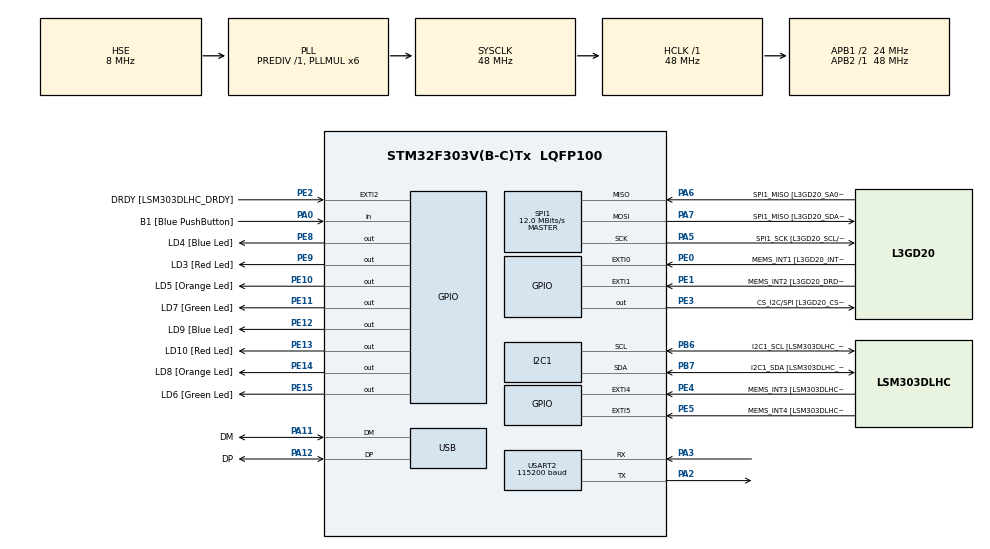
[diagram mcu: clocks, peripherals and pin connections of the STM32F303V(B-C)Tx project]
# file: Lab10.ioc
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I2C1.Timing=0x2000090E
I2C1.Timing-I2C=0x2000090E
Mcu.Family=STM32F3
Mcu.Name=STM32F303V(B-C)Tx
Mcu.Package=LQFP100
NVIC.PriorityGroup=NVIC_PRIORITYGROUP_0
PA0.GPIO_Label=B1 [Blue PushButton]
PA0.Signal=GPIO_Input
PA11.GPIO_Label=DM
PA11.Mode=Device
PA11.Signal=USB_DM
PA12.GPIO_Label=DP
PA12.Mode=Device
PA12.Signal=USB_DP
PA13.GPIO_Label=SWDIO
PA13.Mode=Serial_Wire
PA13.Signal=SYS_JTMS-SWDIO
PA14.GPIO_Label=SWCLK
PA14.Mode=Serial_Wire
PA14.Signal=SYS_JTCK-SWCLK
PA2.Mode=Asynchronous
PA2.Signal=USART2_TX
PA3.Mode=Asynchronous
PA3.Signal=USART2_RX
PA5.GPIO_Label=SPI1_SCK [L3GD20_SCL/SPC]
PA5.Mode=Full_Duplex_Master
PA5.Signal=SPI1_SCK
PA6.GPIO_Label=SPI1_MISO [L3GD20_SA0/SDO]
PA6.Mode=Full_Duplex_Master
PA6.Signal=SPI1_MISO
PA7.GPIO_Label=SPI1_MISO [L3GD20_SDA/SDI/SDO]
PA7.Mode=Full_Duplex_Master
PA7.Signal=SPI1_MOSI
PB3.GPIO_Label=SWO
PB3.Signal=SYS_JTDO-TRACESWO
PB6.GPIO_Label=I2C1_SCL [LSM303DLHC_SCL]
PB6.GPIO_Pu=GPIO_PULLUP
PB6.Mode=I2C
PB6.Signal=I2C1_SCL
PB7.GPIO_Label=I2C1_SDA [LSM303DLHC_SDA]
PB7.GPIO_Pu=GPIO_PULLUP
PB7.Mode=I2C
PB7.Signal=I2C1_SDA
PC14-OSC32_IN.GPIO_Label=OSC32_IN
PC14-OSC32_IN.Signal=RCC_OSC32_IN
PC15-OSC32_OUT.GPIO_Label=OSC32_OUT
PC15-OSC32_OUT.Signal=RCC_OSC32_OUT
PE0.GPIO_Label=MEMS_INT1 [L3GD20_INT1]
PE0.GPIO_ModeDefaultEXTI=GPIO_MODE_EVT_RISING
PE0.Signal=GPXTI0
PE1.GPIO_Label=MEMS_INT2 [L3GD20_DRDY/INT2]
PE1.GPIO_ModeDefaultEXTI=GPIO_MODE_EVT_RISING
PE1.Signal=GPXTI1
PE10.GPIO_Label=LD5 [Orange Led]
PE10.Signal=GPIO_Output
PE11.GPIO_Label=LD7 [Green Led]
PE11.Signal=GPIO_Output
PE12.GPIO_Label=LD9 [Blue Led]
PE12.Signal=GPIO_Output
PE13.GPIO_Label=LD10 [Red Led]
PE13.Signal=GPIO_Output
PE14.GPIO_Label=LD8 [Orange Led]
PE14.Signal=GPIO_Output
PE15.GPIO_Label=LD6 [Green Led]
PE15.Signal=GPIO_Output
PE2.GPIO_Label=DRDY [LSM303DLHC_DRDY]
PE2.GPIO_ModeDefaultEXTI=GPIO_MODE_EVT_RISING
PE2.Signal=GPXTI2
PE3.GPIO_Label=CS_I2C/SPI [L3GD20_CS_I2C/SPI]
PE3.Signal=GPIO_Output
PE4.GPIO_Label=MEMS_INT3 [LSM303DLHC_INT1]
PE4.GPIO_ModeDefaultEXTI=GPIO_MODE_EVT_RISING
PE4.Signal=GPXTI4
PE5.GPIO_Label=MEMS_INT4 [LSM303DLHC_INT2]
PE5.GPIO_ModeDefaultEXTI=GPIO_MODE_EVT_RISING
PE5.Signal=GPXTI5
PE8.GPIO_Label=LD4 [Blue Led]
PE8.Signal=GPIO_Output
PE9.GPIO_Label=LD3 [Red Led]
PE9.Signal=GPIO_Output
PF0-OSC_IN.GPIO_Label=OSC_IN
PF0-OSC_IN.Mode=HSE-External-Clock-Source
PF0-OSC_IN.Signal=RCC_OSC_IN
PF1-OSC_OUT.GPIO_Label=OSC_OUT
PF1-OSC_OUT.Signal=RCC_OSC_OUT
ProjectManager.HeapSize=0x800
ProjectManager.StackSize=0x400
ProjectManager.TargetToolchain=CMake
RCC.AHBFreq_Value=48000000
RCC.APB1CLKDivider=RCC_HCLK_DIV2
RCC.APB1Freq_Value=24000000
RCC.APB1TimFreq_Value=48000000
RCC.APB2Freq_Value=48000000
RCC.APB2TimFreq_Value=48000000
RCC.CortexFreq_Value=48000000
RCC.HCLKFreq_Value=48000000
RCC.HSE_VALUE=8000000
RCC.HSI_VALUE=8000000
RCC.LSE_VALUE=32768
RCC.PLLMUL=RCC_PLL_MUL6
RCC.SYSCLKFreq_VALUE=48000000
RCC.SYSCLKSourceVirtual=RCC_SYSCLKSOURCE_PLLCLK
RCC.USBFreq_Value=48000000
SPI1.BaudRatePrescaler=SPI_BAUDRATEPRESCALER_4
SPI1.BaudRatePrescaler-Full_Duplex_Master=SPI_BAUDRATEPRESCALER_2
SPI1.CalculateBaudRate=12.0 MBits/s
SPI1.CalculateBaudRate-Full_Duplex_Master=24.0 MBits/s
SPI1.Direction=SPI_DIRECTION_2LINES
SPI1.Mode=SPI_MODE_MASTER
SPI1.Mode-Full_Duplex_Master=SPI_MODE_MASTER
SPI1.VirtualType=VM_MASTER
USART2.BaudRate=115200
USART2.VirtualMode-Asynchronous=VM_ASYNC
board=STM32F3DISCOVERY

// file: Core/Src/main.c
/* USER CODE BEGIN Header */
/**
  ******************************************************************************
  * @file           : main.c
  * @brief          : Lab 10 — Task 1 (commented) + Task 2 (active)
  *                   Task 1: malloc/calloc/free demonstration
  *                   Task 2: Custom Heap Driver using Direct SRAM Addressing
  *                   UART2 used for output at 115200 baud.
  ******************************************************************************
  */
/* USER CODE END Header */

#include "main.h"

/* USER CODE BEGIN Includes */
#include "Lab10_heap_driver.h"
#include <string.h>
#include <stdio.h>
#include <stdlib.h>   /* needed for Task 1: malloc, calloc, free */
/* USER CODE END Includes */

/* USER CODE BEGIN PD */
#define N 10          /* Task 1: number of elements to allocate */
/* USER CODE END PD */

I2C_HandleTypeDef  hi2c1;
SPI_HandleTypeDef  hspi1;
UART_HandleTypeDef huart2;
PCD_HandleTypeDef  hpcd_USB_FS;

/* USER CODE BEGIN PV */
static char tx_buf[128];
/* USER CODE END PV */

void SystemClock_Config(void);
static void MX_GPIO_Init(void);
static void MX_I2C1_Init(void);
static void MX_SPI1_Init(void);
static void MX_USART2_UART_Init(void);
static void MX_USB_PCD_Init(void);

/* USER CODE BEGIN PFP */
static void uart_send(const char *s)
{
    HAL_UART_Transmit(&huart2, (uint8_t *)s, (uint16_t)strlen(s), HAL_MAX_DELAY);
}

static void uart_send_int(const char *name, int idx, int val)
{
    int len = snprintf(tx_buf, sizeof(tx_buf), "  %s[%d] = %d\r\n", name, idx, val);
    HAL_UART_Transmit(&huart2, (uint8_t *)tx_buf, (uint16_t)len, HAL_MAX_DELAY);
}
/* USER CODE END PFP */

int main(void)
{

    HAL_Init();
    SystemClock_Config();

    MX_GPIO_Init();
    MX_I2C1_Init();
    MX_SPI1_Init();
    MX_USART2_UART_Init();
    MX_USB_PCD_Init();

    /* USER CODE BEGIN 2 */

    HAL_Delay(100);

    /* ====================================================================
     * TASK 1 — Standard Dynamic Memory Allocation (malloc/calloc/free)
     * --------------------------------------------------------------------
     * Demonstrates heap allocation using standard C library functions.
     * Uncomment the block below to run Task 1 instead of Task 2.
     * ==================================================================== */

    /*
    uart_send("========================================\r\n");
    uart_send("  Lab 10 Task 1: Dynamic Memory Alloc  \r\n");
    uart_send("========================================\r\n\r\n");

    // --------------------------------------------------------
    // STEP 1 — malloc()
    // Allocates N integers (uninitialized).
    // Each element is assigned the value i * 2.
    // --------------------------------------------------------
    uart_send("[STEP 1] malloc() — allocate and initialize\r\n");

    int *arr_malloc = (int *)malloc(N * sizeof(int));

    if (arr_malloc == NULL)
    {
        uart_send("  ERROR: malloc() returned NULL. Heap exhausted!\r\n");
    }
    else
    {
        uart_send("  malloc() successful.\r\n");

        for (int i = 0; i < N; i++)
            arr_malloc[i] = i * 2;

        uart_send("  Contents (val = i*2):\r\n");
        for (int i = 0; i < N; i++)
            uart_send_int("arr_malloc", i, arr_malloc[i]);
    }

    // --------------------------------------------------------
    // STEP 2 — calloc()
    // Allocates N integers, all zero-initialized by calloc().
    // Verifies zeros first, then assigns i + 1 to each element.
    // --------------------------------------------------------
    uart_send("\r\n[STEP 2] calloc() — zero-init, then assign\r\n");

    int *arr_calloc = (int *)calloc(N, sizeof(int));

    if (arr_calloc == NULL)
    {
        uart_send("  ERROR: calloc() returned NULL. Heap exhausted!\r\n");
    }
    else
    {
        uart_send("  calloc() successful.\r\n");

        uart_send("  Before assignment (expect all 0):\r\n");
        for (int i = 0; i < N; i++)
            uart_send_int("arr_calloc", i, arr_calloc[i]);

        for (int i = 0; i < N; i++)
            arr_calloc[i] = i + 1;

        uart_send("  After assignment (val = i+1):\r\n");
        for (int i = 0; i < N; i++)
            uart_send_int("arr_calloc", i, arr_calloc[i]);
    }

    // --------------------------------------------------------
    // STEP 3 — free()
    // Releases both arrays back to the heap.
    // Pointers set to NULL to prevent dangling references.
    // --------------------------------------------------------
    uart_send("\r\n[STEP 3] free() — release heap memory\r\n");

    free(arr_malloc);
    arr_malloc = NULL;
    uart_send("  arr_malloc freed. Pointer set to NULL.\r\n");

    free(arr_calloc);
    arr_calloc = NULL;
    uart_send("  arr_calloc freed. Pointer set to NULL.\r\n");

    uart_send("\r\n========================================\r\n");
    uart_send("  Task 1 Complete. All memory released.  \r\n");
    uart_send("========================================\r\n");
    */

    /* ====================================================================
     * TASK 2 — Custom Heap Driver (Direct SRAM Addressing)
     * --------------------------------------------------------------------
     * Uses a custom allocator (Lab10_heap_driver.c) that manages a fixed
     * 4 KB region of SRAM starting at 0x20001000, divided into 256 blocks
     * of 16 bytes each, tracked via a bitmap (block_map[]).
     * ==================================================================== */

    uart_send("========================================\r\n");
    uart_send("  Lab 10 Task 2: Custom Heap Driver     \r\n");
    uart_send("========================================\r\n\r\n");

    // Step 1: Initialize the custom heap — clears all 256 block_map entries to 0
    heap_init();
    uart_send("[INFO] Heap initialized.\r\n");

    // Step 2: Allocate two memory blocks from custom heap
    // block1: 32 bytes → occupies 2 blocks (0x20001000 to 0x2000101F)
    // block2: 48 bytes → occupies 3 blocks (0x20001020 to 0x2000104F)
    char *block1 = (char *)heap_alloc(32);
    char *block2 = (char *)heap_alloc(48);

    // Step 3: Verify allocations and write data
    if (block1 != NULL && block2 != NULL)
    {
        uart_send("[INFO] Both blocks allocated successfully.\r\n\r\n");

        // Print addresses to confirm correct SRAM placement
        int len = snprintf(tx_buf, sizeof(tx_buf),
                           "[ADDR] block1 = 0x%08lX\r\n", (uint32_t)block1);
        HAL_UART_Transmit(&huart2, (uint8_t *)tx_buf, len, HAL_MAX_DELAY);

        len = snprintf(tx_buf, sizeof(tx_buf),
                       "[ADDR] block2 = 0x%08lX\r\n\r\n", (uint32_t)block2);
        HAL_UART_Transmit(&huart2, (uint8_t *)tx_buf, len, HAL_MAX_DELAY);

        // Write strings into raw SRAM
        strcpy(block1, "Data in Block 1");
        strcpy(block2, "Text from Block 2");

        // Read back and print contents
        uart_send("[DATA] block1 contains: ");
        uart_send(block1);
        uart_send("\r\n");

        uart_send("[DATA] block2 contains: ");
        uart_send(block2);
        uart_send("\r\n");
    }
    else
    {
        if (block1 == NULL) uart_send("[ERROR] block1 allocation failed!\r\n");
        if (block2 == NULL) uart_send("[ERROR] block2 allocation failed!\r\n");
    }

    // Step 4: Free both blocks — resets block_map entries back to 0
    uart_send("\r\n[INFO] Freeing block1...\r\n");
    heap_free(block1);
    block1 = NULL;    /* prevent dangling pointer */

    uart_send("[INFO] Freeing block2...\r\n");
    heap_free(block2);
    block2 = NULL;    /* prevent dangling pointer */

    uart_send("Blocks freed.\r\n");

    uart_send("\r\n========================================\r\n");
    uart_send("  Task 2 Complete.                       \r\n");
    uart_send("========================================\r\n");

    /* USER CODE END 2 */

    while (1)
    {
    }
}

void SystemClock_Config(void)
{
    RCC_OscInitTypeDef       RCC_OscInitStruct = {0};
    RCC_ClkInitTypeDef       RCC_ClkInitStruct = {0};
    RCC_PeriphCLKInitTypeDef PeriphClkInit     = {0};

    RCC_OscInitStruct.OscillatorType      = RCC_OSCILLATORTYPE_HSI | RCC_OSCILLATORTYPE_HSE;
    RCC_OscInitStruct.HSEState            = RCC_HSE_BYPASS;
    RCC_OscInitStruct.HSEPredivValue      = RCC_HSE_PREDIV_DIV1;
    RCC_OscInitStruct.HSIState            = RCC_HSI_ON;
    RCC_OscInitStruct.HSICalibrationValue = RCC_HSICALIBRATION_DEFAULT;
    RCC_OscInitStruct.PLL.PLLState        = RCC_PLL_ON;
    RCC_OscInitStruct.PLL.PLLSource       = RCC_PLLSOURCE_HSE;
    RCC_OscInitStruct.PLL.PLLMUL          = RCC_PLL_MUL6;
    if (HAL_RCC_OscConfig(&RCC_OscInitStruct) != HAL_OK) Error_Handler();

    RCC_ClkInitStruct.ClockType      = RCC_CLOCKTYPE_HCLK | RCC_CLOCKTYPE_SYSCLK
                                     | RCC_CLOCKTYPE_PCLK1 | RCC_CLOCKTYPE_PCLK2;
    RCC_ClkInitStruct.SYSCLKSource   = RCC_SYSCLKSOURCE_PLLCLK;
    RCC_ClkInitStruct.AHBCLKDivider  = RCC_SYSCLK_DIV1;
    RCC_ClkInitStruct.APB1CLKDivider = RCC_HCLK_DIV2;
    RCC_ClkInitStruct.APB2CLKDivider = RCC_HCLK_DIV1;
    if (HAL_RCC_ClockConfig(&RCC_ClkInitStruct, FLASH_LATENCY_1) != HAL_OK) Error_Handler();

    PeriphClkInit.PeriphClockSelection = RCC_PERIPHCLK_USB | RCC_PERIPHCLK_USART2
                                       | RCC_PERIPHCLK_I2C1;
    PeriphClkInit.Usart2ClockSelection = RCC_USART2CLKSOURCE_PCLK1;
    PeriphClkInit.I2c1ClockSelection   = RCC_I2C1CLKSOURCE_HSI;
    PeriphClkInit.USBClockSelection    = RCC_USBCLKSOURCE_PLL;
    if (HAL_RCCEx_PeriphCLKConfig(&PeriphClkInit) != HAL_OK) Error_Handler();
}

static void MX_I2C1_Init(void)
{
    hi2c1.Instance              = I2C1;
    hi2c1.Init.Timing           = 0x2000090E;
    hi2c1.Init.OwnAddress1      = 0;
    hi2c1.Init.AddressingMode   = I2C_ADDRESSINGMODE_7BIT;
    hi2c1.Init.DualAddressMode  = I2C_DUALADDRESS_DISABLE;
    hi2c1.Init.OwnAddress2      = 0;
    hi2c1.Init.OwnAddress2Masks = I2C_OA2_NOMASK;
    hi2c1.Init.GeneralCallMode  = I2C_GENERALCALL_DISABLE;
    hi2c1.Init.NoStretchMode    = I2C_NOSTRETCH_DISABLE;
    if (HAL_I2C_Init(&hi2c1) != HAL_OK) Error_Handler();
    if (HAL_I2CEx_ConfigAnalogFilter(&hi2c1, I2C_ANALOGFILTER_ENABLE) != HAL_OK) Error_Handler();
    if (HAL_I2CEx_ConfigDigitalFilter(&hi2c1, 0) != HAL_OK) Error_Handler();
}

static void MX_SPI1_Init(void)
{
    hspi1.Instance               = SPI1;
    hspi1.Init.Mode              = SPI_MODE_MASTER;
    hspi1.Init.Direction         = SPI_DIRECTION_2LINES;
    hspi1.Init.DataSize          = SPI_DATASIZE_4BIT;
    hspi1.Init.CLKPolarity       = SPI_POLARITY_LOW;
    hspi1.Init.CLKPhase          = SPI_PHASE_1EDGE;
    hspi1.Init.NSS               = SPI_NSS_SOFT;
    hspi1.Init.BaudRatePrescaler = SPI_BAUDRATEPRESCALER_4;
    hspi1.Init.FirstBit          = SPI_FIRSTBIT_MSB;
    hspi1.Init.TIMode            = SPI_TIMODE_DISABLE;
    hspi1.Init.CRCCalculation    = SPI_CRCCALCULATION_DISABLE;
    hspi1.Init.CRCPolynomial     = 7;
    hspi1.Init.CRCLength         = SPI_CRC_LENGTH_DATASIZE;
    hspi1.Init.NSSPMode          = SPI_NSS_PULSE_ENABLE;
    if (HAL_SPI_Init(&hspi1) != HAL_OK) Error_Handler();
}

static void MX_USART2_UART_Init(void)
{
    huart2.Instance            = USART2;
    huart2.Init.BaudRate       = 115200;
    huart2.Init.WordLength     = UART_WORDLENGTH_8B;
    huart2.Init.StopBits       = UART_STOPBITS_1;
    huart2.Init.Parity         = UART_PARITY_NONE;
    huart2.Init.Mode           = UART_MODE_TX_RX;
    huart2.Init.HwFlowCtl      = UART_HWCONTROL_NONE;
    huart2.Init.OverSampling   = UART_OVERSAMPLING_16;
    huart2.Init.OneBitSampling = UART_ONE_BIT_SAMPLE_DISABLE;
    huart2.AdvancedInit.AdvFeatureInit = UART_ADVFEATURE_NO_INIT;
    if (HAL_UART_Init(&huart2) != HAL_OK) Error_Handler();
}

static void MX_USB_PCD_Init(void)
{
    hpcd_USB_FS.Instance                     = USB;
    hpcd_USB_FS.Init.dev_endpoints           = 8;
    hpcd_USB_FS.Init.speed                   = PCD_SPEED_FULL;
    hpcd_USB_FS.Init.phy_itface              = PCD_PHY_EMBEDDED;
    hpcd_USB_FS.Init.low_power_enable        = DISABLE;
    hpcd_USB_FS.Init.battery_charging_enable = DISABLE;
    if (HAL_PCD_Init(&hpcd_USB_FS) != HAL_OK) Error_Handler();
}

static void MX_GPIO_Init(void)
{
    GPIO_InitTypeDef GPIO_InitStruct = {0};

    __HAL_RCC_GPIOE_CLK_ENABLE();
    __HAL_RCC_GPIOC_CLK_ENABLE();
    __HAL_RCC_GPIOF_CLK_ENABLE();
    __HAL_RCC_GPIOA_CLK_ENABLE();
    __HAL_RCC_GPIOB_CLK_ENABLE();

    HAL_GPIO_WritePin(GPIOE, CS_I2C_SPI_Pin | LD4_Pin | LD3_Pin | LD5_Pin
                           | LD7_Pin | LD9_Pin | LD10_Pin | LD8_Pin
                           | LD6_Pin, GPIO_PIN_RESET);

    GPIO_InitStruct.Pin  = DRDY_Pin | MEMS_INT3_Pin | MEMS_INT4_Pin
                         | MEMS_INT1_Pin | MEMS_INT2_Pin;
    GPIO_InitStruct.Mode = GPIO_MODE_EVT_RISING;
    GPIO_InitStruct.Pull = GPIO_NOPULL;
    HAL_GPIO_Init(GPIOE, &GPIO_InitStruct);

    GPIO_InitStruct.Pin   = CS_I2C_SPI_Pin | LD4_Pin | LD3_Pin | LD5_Pin
                          | LD7_Pin | LD9_Pin | LD10_Pin | LD8_Pin | LD6_Pin;
    GPIO_InitStruct.Mode  = GPIO_MODE_OUTPUT_PP;
    GPIO_InitStruct.Pull  = GPIO_NOPULL;
    GPIO_InitStruct.Speed = GPIO_SPEED_FREQ_LOW;
    HAL_GPIO_Init(GPIOE, &GPIO_InitStruct);

    GPIO_InitStruct.Pin  = B1_Pin;
    GPIO_InitStruct.Mode = GPIO_MODE_INPUT;
    GPIO_InitStruct.Pull = GPIO_NOPULL;
    HAL_GPIO_Init(B1_GPIO_Port, &GPIO_InitStruct);
}

void Error_Handler(void)
{
    __disable_irq();
    while (1) {}
}
